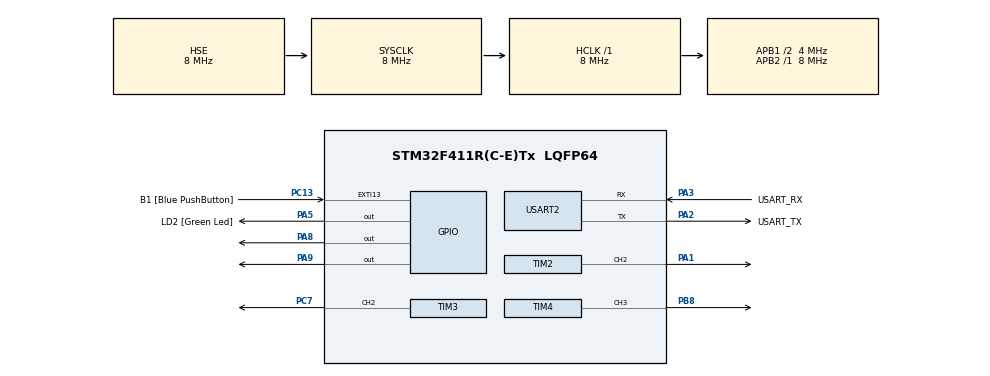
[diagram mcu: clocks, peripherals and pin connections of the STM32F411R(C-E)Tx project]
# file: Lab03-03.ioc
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Mcu.Family=STM32F4
Mcu.Name=STM32F411R(C-E)Tx
Mcu.Package=LQFP64
NVIC.EXTI15_10_IRQn=true\:0\:0\:false\:false\:true\:true\:true\:true
NVIC.PriorityGroup=NVIC_PRIORITYGROUP_0
NVIC.TIM2_IRQn=true\:0\:0\:false\:false\:true\:true\:true\:true
NVIC.TIM3_IRQn=true\:0\:0\:false\:false\:true\:true\:true\:true
NVIC.TIM4_IRQn=true\:0\:0\:false\:false\:true\:true\:true\:true
NVIC.USART2_IRQn=true\:0\:0\:false\:false\:true\:true\:true\:true
PA1.Signal=S_TIM2_CH2
PA13.GPIO_Label=TMS
PA13.Mode=Serial_Wire
PA13.Signal=SYS_JTMS-SWDIO
PA14.GPIO_Label=TCK
PA14.Mode=Serial_Wire
PA14.Signal=SYS_JTCK-SWCLK
PA2.GPIO_Label=USART_TX
PA2.Mode=Asynchronous
PA2.Signal=USART2_TX
PA3.GPIO_Label=USART_RX
PA3.Mode=Asynchronous
PA3.Signal=USART2_RX
PA5.GPIO_Label=LD2 [Green Led]
PA5.Signal=GPIO_Output
PA8.Signal=GPIO_Output
PA9.PinState=GPIO_PIN_RESET
PA9.Signal=GPIO_Output
PB3.GPIO_Label=SWO
PB3.Signal=SYS_JTDO-SWO
PB8.Signal=S_TIM4_CH3
PC13-ANTI_TAMP.GPIO_Label=B1 [Blue PushButton]
PC13-ANTI_TAMP.GPIO_ModeDefaultEXTI=GPIO_MODE_IT_FALLING
PC13-ANTI_TAMP.Signal=GPXTI13
PC14-OSC32_IN.Mode=LSE-External-Oscillator
PC14-OSC32_IN.Signal=RCC_OSC32_IN
PC15-OSC32_OUT.Mode=LSE-External-Oscillator
PC15-OSC32_OUT.Signal=RCC_OSC32_OUT
PC7.Signal=S_TIM3_CH2
PH0\ -\ OSC_IN.Mode=HSE-External-Clock-Source
PH0\ -\ OSC_IN.Signal=RCC_OSC_IN
PH1\ -\ OSC_OUT.Mode=HSE-External-Clock-Source
PH1\ -\ OSC_OUT.Signal=RCC_OSC_OUT
ProjectManager.HeapSize=0x200
ProjectManager.StackSize=0x400
ProjectManager.TargetToolchain=STM32CubeIDE
RCC.48MHZClocksFreq_Value=25000000
RCC.AHBFreq_Value=8000000
RCC.APB1CLKDivider=RCC_HCLK_DIV2
RCC.APB1Freq_Value=4000000
RCC.APB1TimFreq_Value=8000000
RCC.APB2Freq_Value=8000000
RCC.APB2TimFreq_Value=8000000
RCC.CortexFreq_Value=8000000
RCC.FLatency-AdvancedSettings=FLASH_LATENCY_0
RCC.HCLKFreq_Value=8000000
RCC.HSE_VALUE=8000000
RCC.HSI_VALUE=16000000
RCC.PLLM=8
RCC.PLLN=100
RCC.PLLSourceVirtual=RCC_PLLSOURCE_HSE
RCC.SYSCLKFreq_VALUE=8000000
RCC.SYSCLKSource=RCC_SYSCLKSOURCE_HSE
RCC.VCOOutputFreq_Value=100000000
SH.S_TIM2_CH2.0=TIM2_CH2,PWM Generation2 CH2
SH.S_TIM3_CH2.0=TIM3_CH2,PWM Generation2 CH2
SH.S_TIM4_CH3.0=TIM4_CH3,PWM Generation3 CH3
TIM2.Channel-PWM\ Generation2\ CH2=TIM_CHANNEL_2
TIM2.Period=799
TIM2.Prescaler=9998
TIM2.Pulse-PWM\ Generation2\ CH2=400
TIM3.Channel-PWM\ Generation2\ CH2=TIM_CHANNEL_2
TIM3.Period=999
TIM3.Prescaler=1999
TIM3.Pulse-PWM\ Generation2\ CH2=500
TIM4.Channel-PWM\ Generation3\ CH3=TIM_CHANNEL_3
TIM4.Period=1999
TIM4.Prescaler=980
TIM4.Pulse-PWM\ Generation3\ CH3=1000
USART2.VirtualMode=VM_ASYNC
VP_TIM2_VS_ClockSourceINT.Mode=Internal
VP_TIM3_VS_ClockSourceINT.Mode=Internal
VP_TIM4_VS_ClockSourceINT.Mode=Internal
board=NUCLEO-F411RE

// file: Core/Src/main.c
/* USER CODE BEGIN Header */
/**
  ******************************************************************************
  * @file           : main.c
  * @brief          : Main program body
  ******************************************************************************
  * @attention
  *
  * Copyright (c) 2024 STMicroelectronics.
  * All rights reserved.
  *
  * This software is licensed under terms that can be found in the LICENSE file
  * in the root directory of this software component.
  * If no LICENSE file comes with this software, it is provided AS-IS.
  *
  ******************************************************************************
  */
/* USER CODE END Header */
#include "main.h"

TIM_HandleTypeDef htim2;
TIM_HandleTypeDef htim3;
TIM_HandleTypeDef htim4;

UART_HandleTypeDef huart2;

/* USER CODE BEGIN PV */

int GREEN_LED_STATUS = 0;
int BLUE_LED_STATUS = 0;

/* USER CODE END PV */

void SystemClock_Config(void);
static void MX_GPIO_Init(void);
static void MX_USART2_UART_Init(void);
static void MX_TIM3_Init(void);
static void MX_TIM4_Init(void);
static void MX_TIM2_Init(void);

int main(void)
{

  /* MCU Configuration--------------------------------------------------------*/

  /* Reset of all peripherals, Initializes the Flash interface and the Systick. */
  HAL_Init();

  /* Configure the system clock */
  SystemClock_Config();

  /* Initialize all configured peripherals */
  MX_GPIO_Init();
  MX_USART2_UART_Init();
  MX_TIM3_Init();
  MX_TIM4_Init();
  MX_TIM2_Init();
  /* USER CODE BEGIN 2 */

  HAL_TIM_Base_Start_IT(&htim3);
  HAL_TIM_Base_Start_IT(&htim4);
  HAL_TIM_Base_Start_IT(&htim2);
  HAL_TIM_PWM_Start(&htim3, TIM_CHANNEL_2);
  HAL_TIM_PWM_Start(&htim4, TIM_CHANNEL_3);
  HAL_TIM_PWM_Start(&htim2, TIM_CHANNEL_2);

  /* USER CODE END 2 */

  /* Infinite loop */
  while (1)
  {

  }
}

void SystemClock_Config(void)
{
  RCC_OscInitTypeDef RCC_OscInitStruct = {0};
  RCC_ClkInitTypeDef RCC_ClkInitStruct = {0};

  /** Configure the main internal regulator output voltage
  */
  __HAL_RCC_PWR_CLK_ENABLE();
  __HAL_PWR_VOLTAGESCALING_CONFIG(PWR_REGULATOR_VOLTAGE_SCALE1);

  /** Initializes the RCC Oscillators according to the specified parameters
  * in the RCC_OscInitTypeDef structure.
  */
  RCC_OscInitStruct.OscillatorType = RCC_OSCILLATORTYPE_HSE;
  RCC_OscInitStruct.HSEState = RCC_HSE_BYPASS;
  RCC_OscInitStruct.PLL.PLLState = RCC_PLL_NONE;
  if (HAL_RCC_OscConfig(&RCC_OscInitStruct) != HAL_OK)
  {
    Error_Handler();
  }

  /** Initializes the CPU, AHB and APB buses clocks
  */
  RCC_ClkInitStruct.ClockType = RCC_CLOCKTYPE_HCLK|RCC_CLOCKTYPE_SYSCLK
                              |RCC_CLOCKTYPE_PCLK1|RCC_CLOCKTYPE_PCLK2;
  RCC_ClkInitStruct.SYSCLKSource = RCC_SYSCLKSOURCE_HSE;
  RCC_ClkInitStruct.AHBCLKDivider = RCC_SYSCLK_DIV1;
  RCC_ClkInitStruct.APB1CLKDivider = RCC_HCLK_DIV2;
  RCC_ClkInitStruct.APB2CLKDivider = RCC_HCLK_DIV1;

  if (HAL_RCC_ClockConfig(&RCC_ClkInitStruct, FLASH_LATENCY_0) != HAL_OK)
  {
    Error_Handler();
  }
}

static void MX_TIM2_Init(void)
{

  TIM_ClockConfigTypeDef sClockSourceConfig = {0};
  TIM_MasterConfigTypeDef sMasterConfig = {0};
  TIM_OC_InitTypeDef sConfigOC = {0};

  htim2.Instance = TIM2;
  htim2.Init.Prescaler = 9998;
  htim2.Init.CounterMode = TIM_COUNTERMODE_UP;
  htim2.Init.Period = 799;
  htim2.Init.ClockDivision = TIM_CLOCKDIVISION_DIV1;
  htim2.Init.AutoReloadPreload = TIM_AUTORELOAD_PRELOAD_DISABLE;
  if (HAL_TIM_Base_Init(&htim2) != HAL_OK)
  {
    Error_Handler();
  }
  sClockSourceConfig.ClockSource = TIM_CLOCKSOURCE_INTERNAL;
  if (HAL_TIM_ConfigClockSource(&htim2, &sClockSourceConfig) != HAL_OK)
  {
    Error_Handler();
  }
  if (HAL_TIM_PWM_Init(&htim2) != HAL_OK)
  {
    Error_Handler();
  }
  sMasterConfig.MasterOutputTrigger = TIM_TRGO_RESET;
  sMasterConfig.MasterSlaveMode = TIM_MASTERSLAVEMODE_DISABLE;
  if (HAL_TIMEx_MasterConfigSynchronization(&htim2, &sMasterConfig) != HAL_OK)
  {
    Error_Handler();
  }
  sConfigOC.OCMode = TIM_OCMODE_PWM1;
  sConfigOC.Pulse = 400;
  sConfigOC.OCPolarity = TIM_OCPOLARITY_HIGH;
  sConfigOC.OCFastMode = TIM_OCFAST_DISABLE;
  if (HAL_TIM_PWM_ConfigChannel(&htim2, &sConfigOC, TIM_CHANNEL_2) != HAL_OK)
  {
    Error_Handler();
  }
  HAL_TIM_MspPostInit(&htim2);

}

static void MX_TIM3_Init(void)
{

  TIM_ClockConfigTypeDef sClockSourceConfig = {0};
  TIM_MasterConfigTypeDef sMasterConfig = {0};
  TIM_OC_InitTypeDef sConfigOC = {0};

  htim3.Instance = TIM3;
  htim3.Init.Prescaler = 1999;
  htim3.Init.CounterMode = TIM_COUNTERMODE_UP;
  htim3.Init.Period = 999;
  htim3.Init.ClockDivision = TIM_CLOCKDIVISION_DIV1;
  htim3.Init.AutoReloadPreload = TIM_AUTORELOAD_PRELOAD_DISABLE;
  if (HAL_TIM_Base_Init(&htim3) != HAL_OK)
  {
    Error_Handler();
  }
  sClockSourceConfig.ClockSource = TIM_CLOCKSOURCE_INTERNAL;
  if (HAL_TIM_ConfigClockSource(&htim3, &sClockSourceConfig) != HAL_OK)
  {
    Error_Handler();
  }
  if (HAL_TIM_PWM_Init(&htim3) != HAL_OK)
  {
    Error_Handler();
  }
  sMasterConfig.MasterOutputTrigger = TIM_TRGO_RESET;
  sMasterConfig.MasterSlaveMode = TIM_MASTERSLAVEMODE_DISABLE;
  if (HAL_TIMEx_MasterConfigSynchronization(&htim3, &sMasterConfig) != HAL_OK)
  {
    Error_Handler();
  }
  sConfigOC.OCMode = TIM_OCMODE_PWM1;
  sConfigOC.Pulse = 500;
  sConfigOC.OCPolarity = TIM_OCPOLARITY_HIGH;
  sConfigOC.OCFastMode = TIM_OCFAST_DISABLE;
  if (HAL_TIM_PWM_ConfigChannel(&htim3, &sConfigOC, TIM_CHANNEL_2) != HAL_OK)
  {
    Error_Handler();
  }
  HAL_TIM_MspPostInit(&htim3);

}

static void MX_TIM4_Init(void)
{

  TIM_ClockConfigTypeDef sClockSourceConfig = {0};
  TIM_MasterConfigTypeDef sMasterConfig = {0};
  TIM_OC_InitTypeDef sConfigOC = {0};

  htim4.Instance = TIM4;
  htim4.Init.Prescaler = 980;
  htim4.Init.CounterMode = TIM_COUNTERMODE_UP;
  htim4.Init.Period = 1999;
  htim4.Init.ClockDivision = TIM_CLOCKDIVISION_DIV1;
  htim4.Init.AutoReloadPreload = TIM_AUTORELOAD_PRELOAD_DISABLE;
  if (HAL_TIM_Base_Init(&htim4) != HAL_OK)
  {
    Error_Handler();
  }
  sClockSourceConfig.ClockSource = TIM_CLOCKSOURCE_INTERNAL;
  if (HAL_TIM_ConfigClockSource(&htim4, &sClockSourceConfig) != HAL_OK)
  {
    Error_Handler();
  }
  if (HAL_TIM_PWM_Init(&htim4) != HAL_OK)
  {
    Error_Handler();
  }
  sMasterConfig.MasterOutputTrigger = TIM_TRGO_RESET;
  sMasterConfig.MasterSlaveMode = TIM_MASTERSLAVEMODE_DISABLE;
  if (HAL_TIMEx_MasterConfigSynchronization(&htim4, &sMasterConfig) != HAL_OK)
  {
    Error_Handler();
  }
  sConfigOC.OCMode = TIM_OCMODE_PWM1;
  sConfigOC.Pulse = 1000;
  sConfigOC.OCPolarity = TIM_OCPOLARITY_HIGH;
  sConfigOC.OCFastMode = TIM_OCFAST_DISABLE;
  if (HAL_TIM_PWM_ConfigChannel(&htim4, &sConfigOC, TIM_CHANNEL_3) != HAL_OK)
  {
    Error_Handler();
  }
  HAL_TIM_MspPostInit(&htim4);

}

static void MX_USART2_UART_Init(void)
{

  huart2.Instance = USART2;
  huart2.Init.BaudRate = 115200;
  huart2.Init.WordLength = UART_WORDLENGTH_8B;
  huart2.Init.StopBits = UART_STOPBITS_1;
  huart2.Init.Parity = UART_PARITY_NONE;
  huart2.Init.Mode = UART_MODE_TX_RX;
  huart2.Init.HwFlowCtl = UART_HWCONTROL_NONE;
  huart2.Init.OverSampling = UART_OVERSAMPLING_16;
  if (HAL_UART_Init(&huart2) != HAL_OK)
  {
    Error_Handler();
  }

}

static void MX_GPIO_Init(void)
{
  GPIO_InitTypeDef GPIO_InitStruct = {0};

  /* GPIO Ports Clock Enable */
  __HAL_RCC_GPIOC_CLK_ENABLE();
  __HAL_RCC_GPIOH_CLK_ENABLE();
  __HAL_RCC_GPIOA_CLK_ENABLE();
  __HAL_RCC_GPIOB_CLK_ENABLE();

  /*Configure GPIO pin Output Level */
  HAL_GPIO_WritePin(GPIOA, LD2_Pin|GPIO_PIN_8|GPIO_PIN_9, GPIO_PIN_RESET);

  /*Configure GPIO pin : B1_Pin */
  GPIO_InitStruct.Pin = B1_Pin;
  GPIO_InitStruct.Mode = GPIO_MODE_IT_FALLING;
  GPIO_InitStruct.Pull = GPIO_NOPULL;
  HAL_GPIO_Init(B1_GPIO_Port, &GPIO_InitStruct);

  /*Configure GPIO pins : LD2_Pin PA8 PA9 */
  GPIO_InitStruct.Pin = LD2_Pin|GPIO_PIN_8|GPIO_PIN_9;
  GPIO_InitStruct.Mode = GPIO_MODE_OUTPUT_PP;
  GPIO_InitStruct.Pull = GPIO_NOPULL;
  GPIO_InitStruct.Speed = GPIO_SPEED_FREQ_LOW;
  HAL_GPIO_Init(GPIOA, &GPIO_InitStruct);

  /* EXTI interrupt init*/
  HAL_NVIC_SetPriority(EXTI15_10_IRQn, 0, 0);
  HAL_NVIC_EnableIRQ(EXTI15_10_IRQn);

}

/* USER CODE BEGIN 4 */

void HAL_TIM_PeriodElapsedCallback(TIM_HandleTypeDef *htim) {
	if (htim == &htim3) {
		HAL_GPIO_TogglePin(LD2_GPIO_Port, LD2_Pin);
		GREEN_LED_STATUS++;
		GREEN_LED_STATUS %= 2;
	}
	else if (htim == &htim4) {
		HAL_GPIO_TogglePin(GPIOA, GPIO_PIN_9);
		BLUE_LED_STATUS++;
		BLUE_LED_STATUS %= 2;
	}
	else if (htim == &htim2) {
		uint8_t msg[17];
		snprintf(msg,sizeof msg,"Total LED ON: %d\n",BLUE_LED_STATUS + GREEN_LED_STATUS);
		HAL_UART_Transmit(&huart2, msg, 16, 5);
	}
}

/* USER CODE END 4 */

void Error_Handler(void)
{
  __disable_irq();
  while (1)
  {
  }
}
